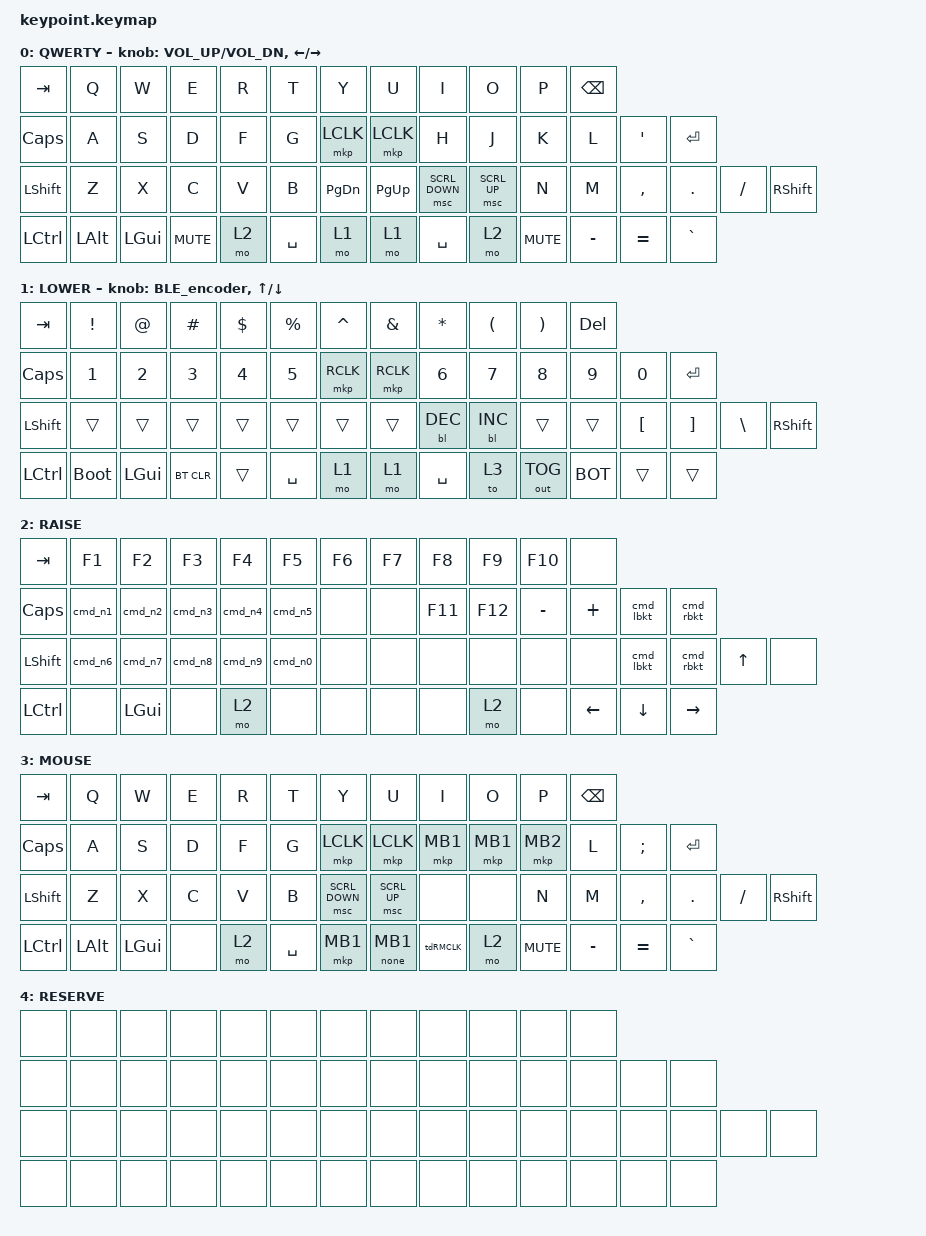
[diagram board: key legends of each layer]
/*
 * Copyright (c) 2025 ZitaoTech
 *
 * SPDX-License-Identifier: MIT
 */

#include <dt-bindings/zmk/mouse.h>
#include <behaviors.dtsi>
#include <dt-bindings/zmk/backlight.h>
#include <dt-bindings/zmk/bt.h>
#include <dt-bindings/zmk/keys.h>
#include <dt-bindings/zmk/outputs.h>
#include <dt-bindings/zmk/pointing.h>

#define LOWER 1
#define RAISE 2
#define MOUSE 3
#define BOT bootloader

/ {
    behaviors {
        td0: tap_dance_0 {
            compatible = "zmk,behavior-tap-dance";
            #binding-cells = <0>;
            tapping-term-ms = <400>;
            bindings = <&mkp LCLK>, <&bt BT_CLR>;
        };
    };

    behaviors {
        tdRMCLK: tap_dance_R_LMouse {
            compatible = "zmk,behavior-tap-dance";
            #binding-cells = <0>;
            tapping-term-ms = <400>;
            bindings = <&mkp RCLK>, <&mkp MCLK>;
        };
    };

    macros {
        cmd_n1: cmd_number_1 {
            compatible = "zmk,behavior-macro";
            #binding-cells = <0>;
            wait-ms = <30>;
            tap-ms = <30>;
            bindings =
                <&macro_press>,
                <&kp LEFT_GUI>,
                <&macro_tap>,
                <&kp N1>,
                <&macro_release>,
                <&kp LEFT_GUI>;
        };

        cmd_n2: cmd_number_2 {
            compatible = "zmk,behavior-macro";
            #binding-cells = <0>;
            wait-ms = <30>;
            tap-ms = <30>;
            bindings =
                <&macro_press>,
                <&kp LEFT_GUI>,
                <&macro_tap>,
                <&kp N2>,
                <&macro_release>,
                <&kp LEFT_GUI>;
        };

        cmd_n3: cmd_number_3 {
            compatible = "zmk,behavior-macro";
            #binding-cells = <0>;
            wait-ms = <30>;
            tap-ms = <30>;
            bindings =
                <&macro_press>,
                <&kp LEFT_GUI>,
                <&macro_tap>,
                <&kp N3>,
                <&macro_release>,
                <&kp LEFT_GUI>;
        };

        cmd_n4: cmd_number_4 {
            compatible = "zmk,behavior-macro";
            #binding-cells = <0>;
            wait-ms = <30>;
            tap-ms = <30>;
            bindings =
                <&macro_press>,
                <&kp LEFT_GUI>,
                <&macro_tap>,
                <&kp N4>,
                <&macro_release>,
                <&kp LEFT_GUI>;
        };

        cmd_n5: cmd_number_5 {
            compatible = "zmk,behavior-macro";
            #binding-cells = <0>;
            wait-ms = <30>;
            tap-ms = <30>;
            bindings =
                <&macro_press>,
                <&kp LEFT_GUI>,
                <&macro_tap>,
                <&kp N5>,
                <&macro_release>,
                <&kp LEFT_GUI>;
        };

        cmd_n6: cmd_number_6 {
            compatible = "zmk,behavior-macro";
            #binding-cells = <0>;
            wait-ms = <30>;
            tap-ms = <30>;
            bindings =
                <&macro_press>,
                <&kp LEFT_GUI>,
                <&macro_tap>,
                <&kp N6>,
                <&macro_release>,
                <&kp LEFT_GUI>;
        };

        cmd_n7: cmd_number_7 {
            compatible = "zmk,behavior-macro";
            #binding-cells = <0>;
            wait-ms = <30>;
            tap-ms = <30>;
            bindings =
                <&macro_press>,
                <&kp LEFT_GUI>,
                <&macro_tap>,
                <&kp N7>,
                <&macro_release>,
                <&kp LEFT_GUI>;
        };

        cmd_n8: cmd_number_8 {
            compatible = "zmk,behavior-macro";
            #binding-cells = <0>;
            wait-ms = <30>;
            tap-ms = <30>;
            bindings =
                <&macro_press>,
                <&kp LEFT_GUI>,
                <&macro_tap>,
                <&kp N8>,
                <&macro_release>,
                <&kp LEFT_GUI>;
        };

        cmd_n9: cmd_number_9 {
            compatible = "zmk,behavior-macro";
            #binding-cells = <0>;
            wait-ms = <30>;
            tap-ms = <30>;
            bindings =
                <&macro_press>,
                <&kp LEFT_GUI>,
                <&macro_tap>,
                <&kp N9>,
                <&macro_release>,
                <&kp LEFT_GUI>;
        };

        cmd_n0: cmd_number_0 {
            compatible = "zmk,behavior-macro";
            #binding-cells = <0>;
            wait-ms = <30>;
            tap-ms = <30>;
            bindings =
                <&macro_press>,
                <&kp LEFT_GUI>,
                <&macro_tap>,
                <&kp N0>,
                <&macro_release>,
                <&kp LEFT_GUI>;
        };

        cmd_lbkt: cmd_left_bracket {
            compatible = "zmk,behavior-macro";
            #binding-cells = <0>;
            wait-ms = <30>;
            tap-ms = <30>;
            bindings =
                <&macro_press>,
                <&kp LEFT_GUI>,
                <&macro_tap>,
                <&kp LBKT>,
                <&macro_release>,
                <&kp LEFT_GUI>;
        };

        cmd_rbkt: cmd_right_bracket {
            compatible = "zmk,behavior-macro";
            #binding-cells = <0>;
            wait-ms = <30>;
            tap-ms = <30>;
            bindings =
                <&macro_press>,
                <&kp LEFT_GUI>,
                <&macro_tap>,
                <&kp RBKT>,
                <&macro_release>,
                <&kp LEFT_GUI>;
        };
    };

    behaviors {
        hm: homerow_mods {
            compatible = "zmk,behavior-hold-tap";
            #binding-cells = <2>;
            tapping-term-ms = <500>;
            bindings = <&kp &kp>;
        };
    };

    behaviors {
        LMouse_sc: behavior_LMouse_Scroll {
            compatible = "zmk,behavior-hold-tap";
            #binding-cells = <2>;
            flavor = "tap-preferred";     /* 单击优先 */
            tapping-term-ms = <200>;       /* 长按阈值 */
            bindings = <&none &mkp>;        /* hold=none, tap=Lmouse */
        };
    };

    behaviors {
        BLE_encoder: BLE_encoder {
            compatible = "zmk,behavior-sensor-rotate";
            #sensor-binding-cells = <0>;
            bindings = <&bt BT_NXT>, <&bt BT_PRV>;
        };
    };

    keymap {
        compatible = "zmk,keymap";

        default_layer {
            display-name = "QWERTY";
            bindings = <
&kp TAB    &kp Q         &kp W         &kp E       &kp R  &kp T      &kp Y      &kp U      &kp I           &kp O         &kp P       &kp BSPC
&kp CAPS   &kp A         &kp S         &kp D       &kp F  &kp G      &mkp LCLK  &mkp LCLK  &kp H           &kp J         &kp K       &kp L      &kp APOS   &kp ENTER
&kp LSHFT  &kp Z         &kp X         &kp C       &kp V  &kp B      &kp PG_DN  &kp PG_UP  &msc SCRL_DOWN  &msc SCRL_UP  &kp N       &kp M      &kp COMMA  &kp DOT    &kp FSLH  &kp RSHFT
&kp LCTRL  &kp LEFT_ALT  &kp LEFT_GUI  &kp C_MUTE  &mo 2  &kp SPACE  &mo 1      &mo 1      &kp SPACE       &mo 2         &kp C_MUTE  &kp MINUS  &kp EQUAL  &kp GRAVE
            >;

            sensor-bindings = <&inc_dec_kp C_VOL_UP C_VOL_DN &inc_dec_kp LEFT RIGHT>;
        };

        lower_layer {
            display-name = "LOWER";
            bindings = <
&kp TAB    &kp EXCL     &kp AT        &kp HASH    &kp DOLLAR  &kp PERCENT  &kp CARET  &kp AMPERSAND  &kp ASTERISK  &kp LEFT_PARENTHESIS  &kp RIGHT_PARENTHESIS  &kp DEL
&kp CAPS   &kp N1       &kp N2        &kp N3      &kp N4      &kp N5       &mkp RCLK  &mkp RCLK      &kp N6        &kp N7                &kp N8                 &kp N9   &kp N0    &kp ENTER
&kp LSHFT  &trans       &trans        &trans      &trans      &trans       &trans     &trans         &bl BL_DEC    &bl BL_INC            &trans                 &trans   &kp LBKT  &kp RBKT   &kp BACKSLASH  &kp RSHFT
&kp LCTRL  &bootloader  &kp LEFT_GUI  &bt BT_CLR  &trans      &kp SPACE    &mo 1      &mo 1          &kp SPACE     &to 3                 &out OUT_TOG           &BOT     &trans    &trans
            >;

            sensor-bindings = <&BLE_encoder &inc_dec_kp UP DOWN>;
        };

        raise_layer {
            display-name = "RAISE";
            bindings = <
&kp TAB    &kp F1   &kp F2        &kp F3   &kp F4   &kp F5   &kp F6  &kp F7  &kp F8   &kp F9   &kp F10    &none
&kp CAPS   &cmd_n1  &cmd_n2       &cmd_n3  &cmd_n4  &cmd_n5  &none   &none   &kp F11  &kp F12  &kp MINUS  &kp PLUS        &cmd_lbkt       &cmd_rbkt
&kp LSHFT  &cmd_n6  &cmd_n7       &cmd_n8  &cmd_n9  &cmd_n0  &none   &none   &none    &none    &none      &none           &cmd_lbkt       &cmd_rbkt        &kp UP_ARROW  &none
&kp LCTRL  &none    &kp LEFT_GUI  &none    &mo 2    &none    &none   &none   &none    &mo 2    &none      &kp LEFT_ARROW  &kp DOWN_ARROW  &kp RIGHT_ARROW
            >;
        };

        MOUSE_layer {
            display-name = "MOUSE";
            bindings = <
&kp TAB    &kp Q         &kp W         &kp E  &kp R  &kp T      &kp Y           &kp U             &kp I     &kp O     &kp P       &kp BSPC
&kp CAPS   &kp A         &kp S         &kp D  &kp F  &kp G      &mkp LCLK       &mkp LCLK         &mkp MB1  &mkp MB1  &mkp MB2    &kp L      &kp SEMI   &kp ENTER
&kp LSHFT  &kp Z         &kp X         &kp C  &kp V  &kp B      &msc SCRL_DOWN  &msc SCRL_UP      &none     &none     &kp N       &kp M      &kp COMMA  &kp DOT    &kp FSLH  &kp RSHFT
&kp LCTRL  &kp LEFT_ALT  &kp LEFT_GUI  &none  &mo 2  &kp SPACE  &mkp MB1        &LMouse_sc 0 MB1  &tdRMCLK  &mo 2     &kp C_MUTE  &kp MINUS  &kp EQUAL  &kp GRAVE
            >;
        };

        RES_layer {
            display-name = "RESERVE";
            bindings = <
&none  &none  &none  &none  &none  &none  &none  &none  &none  &none  &none  &none
&none  &none  &none  &none  &none  &none  &none  &none  &none  &none  &none  &none  &none  &none
&none  &none  &none  &none  &none  &none  &none  &none  &none  &none  &none  &none  &none  &none  &none  &none
&none  &none  &none  &none  &none  &none  &none  &none  &none  &none  &none  &none  &none  &none
            >;
        };
    };
};
